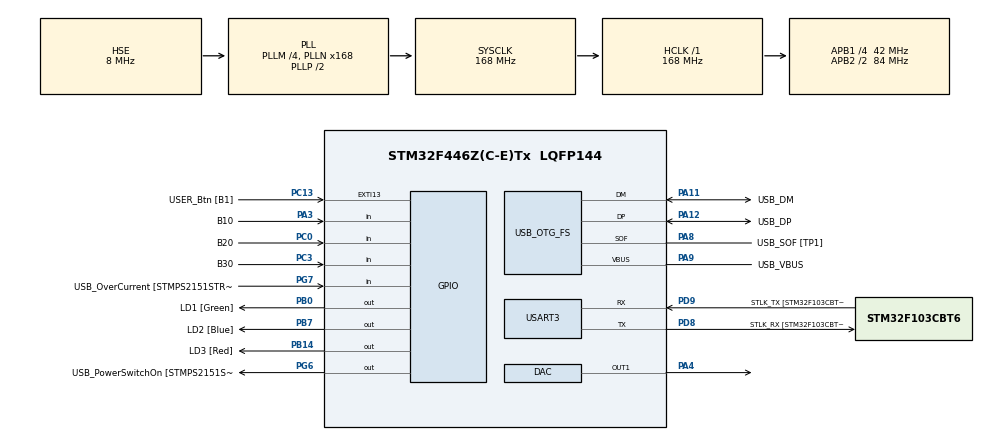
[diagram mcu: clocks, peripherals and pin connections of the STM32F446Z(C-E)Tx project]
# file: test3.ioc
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DAC.DAC_Trigger=DAC_TRIGGER_T4_TRGO
Mcu.Family=STM32F4
Mcu.Name=STM32F446Z(C-E)Tx
Mcu.Package=LQFP144
NVIC.PriorityGroup=NVIC_PRIORITYGROUP_4
NVIC.TIM4_IRQn=true\:0\:0\:false\:false\:true\:true\:true\:true
PA10.GPIO_Label=USB_ID
PA10.Signal=USB_OTG_FS_ID
PA11.GPIO_Label=USB_DM
PA11.Mode=Device_Only
PA11.Signal=USB_OTG_FS_DM
PA12.GPIO_Label=USB_DP
PA12.Mode=Device_Only
PA12.Signal=USB_OTG_FS_DP
PA13.GPIO_Label=TMS
PA13.Mode=Serial_Wire
PA13.Signal=SYS_JTMS-SWDIO
PA14.GPIO_Label=TCK
PA14.Mode=Serial_Wire
PA14.Signal=SYS_JTCK-SWCLK
PA3.GPIO_Label=B10
PA3.GPIO_PuPd=GPIO_PULLDOWN
PA3.Signal=GPIO_Input
PA4.Signal=COMP_DAC1_group
PA8.GPIO_Label=USB_SOF [TP1]
PA8.Mode=Activate_SOF_FS
PA8.Signal=USB_OTG_FS_SOF
PA9.GPIO_Label=USB_VBUS
PA9.Mode=Activate_VBUS
PA9.Signal=USB_OTG_FS_VBUS
PB0.GPIO_Label=LD1 [Green]
PB0.Signal=GPIO_Output
PB14.GPIO_Label=LD3 [Red]
PB14.Signal=GPIO_Output
PB7.GPIO_Label=LD2 [Blue]
PB7.Signal=GPIO_Output
PC0.GPIO_Label=B20
PC0.GPIO_PuPd=GPIO_PULLDOWN
PC0.Signal=GPIO_Input
PC13.GPIO_Label=USER_Btn [B1]
PC13.Signal=GPXTI13
PC14-OSC32_IN.Mode=LSE-External-Oscillator
PC14-OSC32_IN.Signal=RCC_OSC32_IN
PC15-OSC32_OUT.Mode=LSE-External-Oscillator
PC15-OSC32_OUT.Signal=RCC_OSC32_OUT
PC3.GPIO_Label=B30
PC3.GPIO_PuPd=GPIO_PULLDOWN
PC3.Signal=GPIO_Input
PD8.GPIO_Label=STLK_RX [STM32F103CBT6_PA3]
PD8.Mode=Asynchronous
PD8.Signal=USART3_TX
PD9.GPIO_Label=STLK_TX [STM32F103CBT6_PA2]
PD9.Mode=Asynchronous
PD9.Signal=USART3_RX
PG6.GPIO_Label=USB_PowerSwitchOn [STMPS2151STR_EN]
PG6.Signal=GPIO_Output
PG7.GPIO_Label=USB_OverCurrent [STMPS2151STR_FAULT]
PG7.Signal=GPIO_Input
PH0-OSC_IN.GPIO_Label=MCO [STM32F103CBT6_PA8]
PH0-OSC_IN.Mode=HSE-External-Clock-Source
PH0-OSC_IN.Signal=RCC_OSC_IN
PH1-OSC_OUT.Mode=HSE-External-Clock-Source
PH1-OSC_OUT.Signal=RCC_OSC_OUT
ProjectManager.HeapSize=0x200
ProjectManager.StackSize=0x400
ProjectManager.TargetToolchain=STM32CubeIDE
RCC.48MHZClocksFreq_Value=24000000
RCC.AHBFreq_Value=168000000
RCC.APB1CLKDivider=RCC_HCLK_DIV4
RCC.APB1Freq_Value=42000000
RCC.APB1TimFreq_Value=84000000
RCC.APB2CLKDivider=RCC_HCLK_DIV2
RCC.APB2Freq_Value=84000000
RCC.APB2TimFreq_Value=168000000
RCC.CortexFreq_Value=168000000
RCC.HCLKFreq_Value=168000000
RCC.HSE_VALUE=8000000
RCC.HSI_VALUE=16000000
RCC.PLLM=4
RCC.PLLMUL=RCC_PLL_MUL9
RCC.PLLN=168
RCC.PLLQ=7
RCC.PRESCALERUSB=RCC_USBCLKSOURCE_PLL_DIV1_5
RCC.SYSCLKFreq_VALUE=168000000
RCC.SYSCLKSource=RCC_SYSCLKSOURCE_PLLCLK
RCC.SYSCLKSourceVirtual=RCC_SYSCLKSOURCE_PLLCLK
RCC.USBFreq_Value=48000000
RCC.VCOOutputFreq_Value=336000000
SH.COMP_DAC1_group.0=DAC_OUT1,DAC_OUT1
TIM4.Period=3809
TIM4.TIM_MasterOutputTrigger=TIM_TRGO_UPDATE
USART3.VirtualMode=VM_ASYNC
USB_OTG_FS.VirtualMode=Device_Only
VP_TIM4_VS_ClockSourceINT.Mode=Internal
board=NUCLEO-F446ZE

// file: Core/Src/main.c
/* USER CODE BEGIN Header */
/**
  ******************************************************************************
  * @file           : main.c
  * @brief          : Main program body
  ******************************************************************************
  * @attention
  *
  * Copyright (c) 2024 STMicroelectronics.
  * All rights reserved.
  *
  * This software is licensed under terms that can be found in the LICENSE file
  * in the root directory of this software component.
  * If no LICENSE file comes with this software, it is provided AS-IS.
  *
  ******************************************************************************
  */
/* USER CODE END Header */
#include "main.h"

/* USER CODE BEGIN Includes */
#include <stdio.h>
#include "crash-16bit.h"
#include "kick-16bit.h"
#include "tom1-16bit.h"
#include "snare-16bit.h"
/* USER CODE END Includes */

/* USER CODE BEGIN PD */
#define MIN_SIGNED_16BIT_VAL -32768
#define MAX_SIGNED_16BIT_VAL 32767
/* USER CODE END PD */

DAC_HandleTypeDef hdac;

TIM_HandleTypeDef htim4;

UART_HandleTypeDef huart3;

PCD_HandleTypeDef hpcd_USB_OTG_FS;

/* USER CODE BEGIN PV */
int timer_called;
int sample;
/* USER CODE END PV */

void SystemClock_Config(void);
static void MX_GPIO_Init(void);
static void MX_USART3_UART_Init(void);
static void MX_USB_OTG_FS_PCD_Init(void);
static void MX_DAC_Init(void);
static void MX_TIM4_Init(void);

/* USER CODE BEGIN 0 */
void play_sound(int totalSamples, const int16_t sound[]) {
	int currentSampleIndex = 0;
	while (currentSampleIndex < totalSamples)
	  {
		  sample = sound[currentSampleIndex]; // Get the current sample

		  sample += 32768; // Convert to unsigned by adding DC offset for DAC
		  if (sample < -32768)
			  sample = -32768;
		  else if (sample > 32767)
			sample = 32767;

		  currentSampleIndex++; // Move to the next sample
		  while(timer_called == 0) {
			continue;
		  }
		  timer_called = 0;
	  }
	// File done playing, reset current index
}
/* USER CODE END 0 */

int main(void)
{
  /* USER CODE BEGIN 1 */
  char uart_buf[50];
  int uart_buf_len;
  uint8_t B10 = 0;
  uint8_t B20 = 0;
  uint8_t B30 = 0;
  int b10_pressed = 0;
  int b20_pressed = 0;
  int b30_pressed = 0;
  /* USER CODE END 1 */

  /* MCU Configuration--------------------------------------------------------*/

  /* Reset of all peripherals, Initializes the Flash interface and the Systick. */
  HAL_Init();

  /* Configure the system clock */
  SystemClock_Config();

  /* Initialize all configured peripherals */
  MX_GPIO_Init();
  MX_USART3_UART_Init();
  MX_USB_OTG_FS_PCD_Init();
  MX_DAC_Init();
  MX_TIM4_Init();
  /* USER CODE BEGIN 2 */
  uart_buf_len = sprintf(uart_buf, "Initialization complete.\r\n");
  HAL_UART_Transmit(&huart3, (uint8_t *)uart_buf, uart_buf_len, 100);
  timer_called = 0;
  HAL_DAC_Start(&hdac, DAC_CHANNEL_1);
  HAL_TIM_Base_Start_IT(&htim4);
  /* USER CODE END 2 */

  /* Infinite loop */
  /* USER CODE BEGIN WHILE */
  while (1)
  {

	B10 = HAL_GPIO_ReadPin(B10_GPIO_Port, B10_Pin);

	B20 = HAL_GPIO_ReadPin(B20_GPIO_Port, B20_Pin);

	B30 = HAL_GPIO_ReadPin(B30_GPIO_Port, B30_Pin);

	if(B10 == 0) {
		b10_pressed = 0;
	}
	if(B20 == 0) {
		b20_pressed = 0;
	}
	if(B30 == 0) {
		b30_pressed = 0;
	}

	 if(B10 == 1 && b10_pressed == 0) {

		 b10_pressed = 1;
		 play_sound(sizeof(crash)/sizeof(int16_t), crash);

	 }

	 if(B20 == 1 && b20_pressed == 0) {

		 b20_pressed = 1;
		 play_sound(sizeof(kick)/sizeof(int16_t), kick);

	 }

	 if(B30 == 1 && b30_pressed == 0) {

		 b30_pressed = 1;
		 play_sound(sizeof(snare)/sizeof(int16_t), snare);

	 }
    /* USER CODE END WHILE */

  }
}

void SystemClock_Config(void)
{
  RCC_OscInitTypeDef RCC_OscInitStruct = {0};
  RCC_ClkInitTypeDef RCC_ClkInitStruct = {0};

  /** Configure the main internal regulator output voltage
  */
  __HAL_RCC_PWR_CLK_ENABLE();
  __HAL_PWR_VOLTAGESCALING_CONFIG(PWR_REGULATOR_VOLTAGE_SCALE1);

  /** Initializes the RCC Oscillators according to the specified parameters
  * in the RCC_OscInitTypeDef structure.
  */
  RCC_OscInitStruct.OscillatorType = RCC_OSCILLATORTYPE_HSE;
  RCC_OscInitStruct.HSEState = RCC_HSE_BYPASS;
  RCC_OscInitStruct.PLL.PLLState = RCC_PLL_ON;
  RCC_OscInitStruct.PLL.PLLSource = RCC_PLLSOURCE_HSE;
  RCC_OscInitStruct.PLL.PLLM = 4;
  RCC_OscInitStruct.PLL.PLLN = 168;
  RCC_OscInitStruct.PLL.PLLP = RCC_PLLP_DIV2;
  RCC_OscInitStruct.PLL.PLLQ = 7;
  RCC_OscInitStruct.PLL.PLLR = 2;
  if (HAL_RCC_OscConfig(&RCC_OscInitStruct) != HAL_OK)
  {
    Error_Handler();
  }

  /** Initializes the CPU, AHB and APB buses clocks
  */
  RCC_ClkInitStruct.ClockType = RCC_CLOCKTYPE_HCLK|RCC_CLOCKTYPE_SYSCLK
                              |RCC_CLOCKTYPE_PCLK1|RCC_CLOCKTYPE_PCLK2;
  RCC_ClkInitStruct.SYSCLKSource = RCC_SYSCLKSOURCE_PLLCLK;
  RCC_ClkInitStruct.AHBCLKDivider = RCC_SYSCLK_DIV1;
  RCC_ClkInitStruct.APB1CLKDivider = RCC_HCLK_DIV4;
  RCC_ClkInitStruct.APB2CLKDivider = RCC_HCLK_DIV2;

  if (HAL_RCC_ClockConfig(&RCC_ClkInitStruct, FLASH_LATENCY_5) != HAL_OK)
  {
    Error_Handler();
  }
}

static void MX_DAC_Init(void)
{

  DAC_ChannelConfTypeDef sConfig = {0};

  /** DAC Initialization
  */
  hdac.Instance = DAC;
  if (HAL_DAC_Init(&hdac) != HAL_OK)
  {
    Error_Handler();
  }

  /** DAC channel OUT1 config
  */
  sConfig.DAC_Trigger = DAC_TRIGGER_T4_TRGO;
  sConfig.DAC_OutputBuffer = DAC_OUTPUTBUFFER_ENABLE;
  if (HAL_DAC_ConfigChannel(&hdac, &sConfig, DAC_CHANNEL_1) != HAL_OK)
  {
    Error_Handler();
  }

}

static void MX_TIM4_Init(void)
{

  TIM_ClockConfigTypeDef sClockSourceConfig = {0};
  TIM_MasterConfigTypeDef sMasterConfig = {0};

  htim4.Instance = TIM4;
  htim4.Init.Prescaler = 0;
  htim4.Init.CounterMode = TIM_COUNTERMODE_UP;
  htim4.Init.Period = 3809;
  htim4.Init.ClockDivision = TIM_CLOCKDIVISION_DIV1;
  htim4.Init.AutoReloadPreload = TIM_AUTORELOAD_PRELOAD_DISABLE;
  if (HAL_TIM_Base_Init(&htim4) != HAL_OK)
  {
    Error_Handler();
  }
  sClockSourceConfig.ClockSource = TIM_CLOCKSOURCE_INTERNAL;
  if (HAL_TIM_ConfigClockSource(&htim4, &sClockSourceConfig) != HAL_OK)
  {
    Error_Handler();
  }
  sMasterConfig.MasterOutputTrigger = TIM_TRGO_UPDATE;
  sMasterConfig.MasterSlaveMode = TIM_MASTERSLAVEMODE_DISABLE;
  if (HAL_TIMEx_MasterConfigSynchronization(&htim4, &sMasterConfig) != HAL_OK)
  {
    Error_Handler();
  }

}

static void MX_USART3_UART_Init(void)
{

  huart3.Instance = USART3;
  huart3.Init.BaudRate = 115200;
  huart3.Init.WordLength = UART_WORDLENGTH_8B;
  huart3.Init.StopBits = UART_STOPBITS_1;
  huart3.Init.Parity = UART_PARITY_NONE;
  huart3.Init.Mode = UART_MODE_TX_RX;
  huart3.Init.HwFlowCtl = UART_HWCONTROL_NONE;
  huart3.Init.OverSampling = UART_OVERSAMPLING_16;
  if (HAL_UART_Init(&huart3) != HAL_OK)
  {
    Error_Handler();
  }

}

static void MX_USB_OTG_FS_PCD_Init(void)
{

  hpcd_USB_OTG_FS.Instance = USB_OTG_FS;
  hpcd_USB_OTG_FS.Init.dev_endpoints = 6;
  hpcd_USB_OTG_FS.Init.speed = PCD_SPEED_FULL;
  hpcd_USB_OTG_FS.Init.dma_enable = DISABLE;
  hpcd_USB_OTG_FS.Init.phy_itface = PCD_PHY_EMBEDDED;
  hpcd_USB_OTG_FS.Init.Sof_enable = ENABLE;
  hpcd_USB_OTG_FS.Init.low_power_enable = DISABLE;
  hpcd_USB_OTG_FS.Init.lpm_enable = DISABLE;
  hpcd_USB_OTG_FS.Init.vbus_sensing_enable = ENABLE;
  hpcd_USB_OTG_FS.Init.use_dedicated_ep1 = DISABLE;
  if (HAL_PCD_Init(&hpcd_USB_OTG_FS) != HAL_OK)
  {
    Error_Handler();
  }

}

static void MX_GPIO_Init(void)
{
  GPIO_InitTypeDef GPIO_InitStruct = {0};

  /* GPIO Ports Clock Enable */
  __HAL_RCC_GPIOC_CLK_ENABLE();
  __HAL_RCC_GPIOH_CLK_ENABLE();
  __HAL_RCC_GPIOA_CLK_ENABLE();
  __HAL_RCC_GPIOB_CLK_ENABLE();
  __HAL_RCC_GPIOD_CLK_ENABLE();
  __HAL_RCC_GPIOG_CLK_ENABLE();

  /*Configure GPIO pin Output Level */
  HAL_GPIO_WritePin(GPIOB, LD1_Pin|LD3_Pin|LD2_Pin, GPIO_PIN_RESET);

  /*Configure GPIO pin Output Level */
  HAL_GPIO_WritePin(USB_PowerSwitchOn_GPIO_Port, USB_PowerSwitchOn_Pin, GPIO_PIN_RESET);

  /*Configure GPIO pin : USER_Btn_Pin */
  GPIO_InitStruct.Pin = USER_Btn_Pin;
  GPIO_InitStruct.Mode = GPIO_MODE_IT_RISING;
  GPIO_InitStruct.Pull = GPIO_NOPULL;
  HAL_GPIO_Init(USER_Btn_GPIO_Port, &GPIO_InitStruct);

  /*Configure GPIO pins : B20_Pin B30_Pin */
  GPIO_InitStruct.Pin = B20_Pin|B30_Pin;
  GPIO_InitStruct.Mode = GPIO_MODE_INPUT;
  GPIO_InitStruct.Pull = GPIO_PULLDOWN;
  HAL_GPIO_Init(GPIOC, &GPIO_InitStruct);

  /*Configure GPIO pin : B10_Pin */
  GPIO_InitStruct.Pin = B10_Pin;
  GPIO_InitStruct.Mode = GPIO_MODE_INPUT;
  GPIO_InitStruct.Pull = GPIO_PULLDOWN;
  HAL_GPIO_Init(B10_GPIO_Port, &GPIO_InitStruct);

  /*Configure GPIO pins : LD1_Pin LD3_Pin LD2_Pin */
  GPIO_InitStruct.Pin = LD1_Pin|LD3_Pin|LD2_Pin;
  GPIO_InitStruct.Mode = GPIO_MODE_OUTPUT_PP;
  GPIO_InitStruct.Pull = GPIO_NOPULL;
  GPIO_InitStruct.Speed = GPIO_SPEED_FREQ_LOW;
  HAL_GPIO_Init(GPIOB, &GPIO_InitStruct);

  /*Configure GPIO pin : USB_PowerSwitchOn_Pin */
  GPIO_InitStruct.Pin = USB_PowerSwitchOn_Pin;
  GPIO_InitStruct.Mode = GPIO_MODE_OUTPUT_PP;
  GPIO_InitStruct.Pull = GPIO_NOPULL;
  GPIO_InitStruct.Speed = GPIO_SPEED_FREQ_LOW;
  HAL_GPIO_Init(USB_PowerSwitchOn_GPIO_Port, &GPIO_InitStruct);

  /*Configure GPIO pin : USB_OverCurrent_Pin */
  GPIO_InitStruct.Pin = USB_OverCurrent_Pin;
  GPIO_InitStruct.Mode = GPIO_MODE_INPUT;
  GPIO_InitStruct.Pull = GPIO_NOPULL;
  HAL_GPIO_Init(USB_OverCurrent_GPIO_Port, &GPIO_InitStruct);

}

/* USER CODE BEGIN 4 */
void HAL_TIM_PeriodElapsedCallback(TIM_HandleTypeDef *htim) {
	if(htim == &htim4) {
		HAL_DAC_SetValue(&hdac, DAC_CHANNEL_1, DAC_ALIGN_12B_R, sample >>4);
		timer_called = 1;
	}
}
/* USER CODE END 4 */

void Error_Handler(void)
{
  __disable_irq();
  while (1)
  {
  }
}
